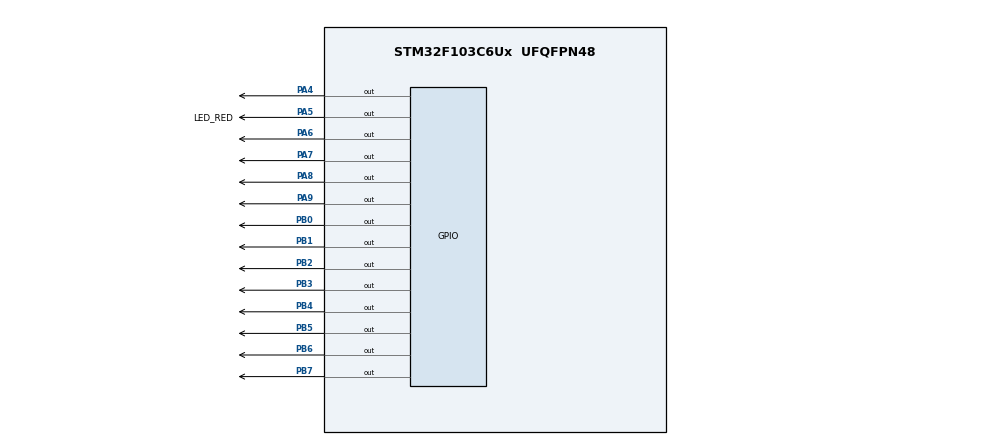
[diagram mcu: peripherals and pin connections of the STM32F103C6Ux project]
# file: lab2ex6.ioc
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Mcu.Family=STM32F1
Mcu.Name=STM32F103C6Ux
Mcu.Package=UFQFPN48
NVIC.PriorityGroup=NVIC_PRIORITYGROUP_4
NVIC.TIM2_IRQn=true\:0\:0\:false\:false\:true\:true\:true
PA4.Signal=GPIO_Output
PA5.GPIO_Label=LED_RED
PA5.Signal=GPIO_Output
PA6.Signal=GPIO_Output
PA7.Signal=GPIO_Output
PA8.Signal=GPIO_Output
PA9.Signal=GPIO_Output
PB0.Signal=GPIO_Output
PB1.Signal=GPIO_Output
PB2.Signal=GPIO_Output
PB3.Signal=GPIO_Output
PB4.Signal=GPIO_Output
PB5.Signal=GPIO_Output
PB6.Signal=GPIO_Output
PB7.Signal=GPIO_Output
ProjectManager.HeapSize=0x200
ProjectManager.StackSize=0x400
ProjectManager.TargetToolchain=STM32CubeIDE
RCC.APB1Freq_Value=8000000
RCC.APB2Freq_Value=8000000
TIM2.Period=9
TIM2.Prescaler=7999
VP_SYS_VS_ND.Mode=No_Debug
VP_TIM2_VS_ClockSourceINT.Mode=Internal
board=custom

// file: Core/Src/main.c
/* USER CODE BEGIN Header */
/**
 ******************************************************************************
 * @file           : main.c
 * @brief          : Main program body
 ******************************************************************************
 * @attention
 *
 * <h2><center>&copy; Copyright (c) 2026 STMicroelectronics.
 * All rights reserved.</center></h2>
 *
 * This software component is licensed by ST under BSD 3-Clause license,
 * the "License"; You may not use this file except in compliance with the
 * License. You may obtain a copy of the License at:
 *                        opensource.org/licenses/BSD-3-Clause
 *
 ******************************************************************************
 */
/* USER CODE END Header */
#include "main.h"

TIM_HandleTypeDef htim2;

void SystemClock_Config(void);
static void MX_GPIO_Init(void);
static void MX_TIM2_Init(void);

/* USER CODE BEGIN 0 */
#define DOT_Pin GPIO_PIN_4
#define EN0_Pin GPIO_PIN_6
#define EN1_Pin GPIO_PIN_7
#define EN2_Pin GPIO_PIN_8
#define EN3_Pin GPIO_PIN_9

int hour = 15, minute = 8, second = 50;
const int MAX_LED = 4;
int led_buffer[4] = {1, 2, 3, 0};
int led_index = 0;

void updateClockBuffer() {
  led_buffer[0] = hour / 10;
  led_buffer[1] = hour % 10;
  led_buffer[2] = minute / 10;
  led_buffer[3] = minute % 10;
}

void display7SEG(int num) {
  GPIO_PinState a = GPIO_PIN_SET;
  GPIO_PinState b = GPIO_PIN_SET;
  GPIO_PinState c = GPIO_PIN_SET;
  GPIO_PinState d = GPIO_PIN_SET;
  GPIO_PinState e = GPIO_PIN_SET;
  GPIO_PinState f = GPIO_PIN_SET;
  GPIO_PinState g = GPIO_PIN_SET;

  switch (num) {
  case 0:
    a = 0;
    b = 0;
    c = 0;
    d = 0;
    e = 0;
    f = 0;
    break;
  case 1:
    b = 0;
    c = 0;
    break;
  case 2:
    a = 0;
    b = 0;
    d = 0;
    e = 0;
    g = 0;
    break;
  case 3:
    a = 0;
    b = 0;
    c = 0;
    d = 0;
    g = 0;
    break;
  case 4:
    b = 0;
    c = 0;
    f = 0;
    g = 0;
    break;
  case 5:
    a = 0;
    c = 0;
    d = 0;
    f = 0;
    g = 0;
    break;
  case 6:
    a = 0;
    c = 0;
    d = 0;
    e = 0;
    f = 0;
    g = 0;
    break;
  case 7:
    a = 0;
    b = 0;
    c = 0;
    break;
  case 8:
    a = 0;
    b = 0;
    c = 0;
    d = 0;
    e = 0;
    f = 0;
    g = 0;
    break;
  case 9:
    a = 0;
    b = 0;
    c = 0;
    d = 0;
    f = 0;
    g = 0;
    break;
  }

  HAL_GPIO_WritePin(GPIOB, GPIO_PIN_0, a);
  HAL_GPIO_WritePin(GPIOB, GPIO_PIN_1, b);
  HAL_GPIO_WritePin(GPIOB, GPIO_PIN_2, c);
  HAL_GPIO_WritePin(GPIOB, GPIO_PIN_3, d);
  HAL_GPIO_WritePin(GPIOB, GPIO_PIN_4, e);
  HAL_GPIO_WritePin(GPIOB, GPIO_PIN_5, f);
  HAL_GPIO_WritePin(GPIOB, GPIO_PIN_6, g);
}

int timer0_counter = 0;
int timer0_flag = 0;
int TIMER_CYCLE = 10;

void setTimer0(int duration) {
  timer0_counter = duration / TIMER_CYCLE;
  timer0_flag = 0;
}

void timer_run() {
  if (timer0_counter > 0) {
    timer0_counter--;
    if (timer0_counter <= 0) {
      timer0_flag = 1;
    }
  }
}
/* USER CODE END 0 */

int main(void)
{

  /* MCU Configuration--------------------------------------------------------*/

  /* Reset of all peripherals, Initializes the Flash interface and the Systick. */
  HAL_Init();

  /* Configure the system clock */
  SystemClock_Config();

  /* Initialize all configured peripherals */
  MX_GPIO_Init();
  MX_TIM2_Init();
  /* USER CODE BEGIN 2 */
  HAL_TIM_Base_Start_IT(&htim2);

  setTimer0(1000);
  /* USER CODE END 2 */

  /* Infinite loop */
  while (1) {

    /* USER CODE BEGIN 3 */

    if (timer0_flag == 1) {
      setTimer0(1000);
      HAL_GPIO_TogglePin(GPIOA, DOT_Pin);
    }

  }
  /* USER CODE END 3 */
}

void SystemClock_Config(void)
{
  RCC_OscInitTypeDef RCC_OscInitStruct = {0};
  RCC_ClkInitTypeDef RCC_ClkInitStruct = {0};

  /** Initializes the RCC Oscillators according to the specified parameters
  * in the RCC_OscInitTypeDef structure.
  */
  RCC_OscInitStruct.OscillatorType = RCC_OSCILLATORTYPE_HSI;
  RCC_OscInitStruct.HSIState = RCC_HSI_ON;
  RCC_OscInitStruct.HSICalibrationValue = RCC_HSICALIBRATION_DEFAULT;
  RCC_OscInitStruct.PLL.PLLState = RCC_PLL_NONE;
  if (HAL_RCC_OscConfig(&RCC_OscInitStruct) != HAL_OK)
  {
    Error_Handler();
  }
  /** Initializes the CPU, AHB and APB buses clocks
  */
  RCC_ClkInitStruct.ClockType = RCC_CLOCKTYPE_HCLK|RCC_CLOCKTYPE_SYSCLK
                              |RCC_CLOCKTYPE_PCLK1|RCC_CLOCKTYPE_PCLK2;
  RCC_ClkInitStruct.SYSCLKSource = RCC_SYSCLKSOURCE_HSI;
  RCC_ClkInitStruct.AHBCLKDivider = RCC_SYSCLK_DIV1;
  RCC_ClkInitStruct.APB1CLKDivider = RCC_HCLK_DIV1;
  RCC_ClkInitStruct.APB2CLKDivider = RCC_HCLK_DIV1;

  if (HAL_RCC_ClockConfig(&RCC_ClkInitStruct, FLASH_LATENCY_0) != HAL_OK)
  {
    Error_Handler();
  }
}

static void MX_TIM2_Init(void)
{

  TIM_ClockConfigTypeDef sClockSourceConfig = {0};
  TIM_MasterConfigTypeDef sMasterConfig = {0};

  htim2.Instance = TIM2;
  htim2.Init.Prescaler = 7999;
  htim2.Init.CounterMode = TIM_COUNTERMODE_UP;
  htim2.Init.Period = 9;
  htim2.Init.ClockDivision = TIM_CLOCKDIVISION_DIV1;
  htim2.Init.AutoReloadPreload = TIM_AUTORELOAD_PRELOAD_DISABLE;
  if (HAL_TIM_Base_Init(&htim2) != HAL_OK)
  {
    Error_Handler();
  }
  sClockSourceConfig.ClockSource = TIM_CLOCKSOURCE_INTERNAL;
  if (HAL_TIM_ConfigClockSource(&htim2, &sClockSourceConfig) != HAL_OK)
  {
    Error_Handler();
  }
  sMasterConfig.MasterOutputTrigger = TIM_TRGO_RESET;
  sMasterConfig.MasterSlaveMode = TIM_MASTERSLAVEMODE_DISABLE;
  if (HAL_TIMEx_MasterConfigSynchronization(&htim2, &sMasterConfig) != HAL_OK)
  {
    Error_Handler();
  }

}

static void MX_GPIO_Init(void)
{
  GPIO_InitTypeDef GPIO_InitStruct = {0};

  /* GPIO Ports Clock Enable */
  __HAL_RCC_GPIOA_CLK_ENABLE();
  __HAL_RCC_GPIOB_CLK_ENABLE();

  /*Configure GPIO pin Output Level */
  HAL_GPIO_WritePin(GPIOA, GPIO_PIN_4|LED_RED_Pin|GPIO_PIN_6|GPIO_PIN_7
                          |GPIO_PIN_8|GPIO_PIN_9, GPIO_PIN_RESET);

  /*Configure GPIO pin Output Level */
  HAL_GPIO_WritePin(GPIOB, GPIO_PIN_0|GPIO_PIN_1|GPIO_PIN_2|GPIO_PIN_3
                          |GPIO_PIN_4|GPIO_PIN_5|GPIO_PIN_6|GPIO_PIN_7, GPIO_PIN_RESET);

  /*Configure GPIO pins : PA4 LED_RED_Pin PA6 PA7
                           PA8 PA9 */
  GPIO_InitStruct.Pin = GPIO_PIN_4|LED_RED_Pin|GPIO_PIN_6|GPIO_PIN_7
                          |GPIO_PIN_8|GPIO_PIN_9;
  GPIO_InitStruct.Mode = GPIO_MODE_OUTPUT_PP;
  GPIO_InitStruct.Pull = GPIO_NOPULL;
  GPIO_InitStruct.Speed = GPIO_SPEED_FREQ_LOW;
  HAL_GPIO_Init(GPIOA, &GPIO_InitStruct);

  /*Configure GPIO pins : PB0 PB1 PB2 PB3
                           PB4 PB5 PB6 PB7 */
  GPIO_InitStruct.Pin = GPIO_PIN_0|GPIO_PIN_1|GPIO_PIN_2|GPIO_PIN_3
                          |GPIO_PIN_4|GPIO_PIN_5|GPIO_PIN_6|GPIO_PIN_7;
  GPIO_InitStruct.Mode = GPIO_MODE_OUTPUT_PP;
  GPIO_InitStruct.Pull = GPIO_NOPULL;
  GPIO_InitStruct.Speed = GPIO_SPEED_FREQ_LOW;
  HAL_GPIO_Init(GPIOB, &GPIO_InitStruct);

}

/* USER CODE BEGIN 4 */
void update7SEG(int index) {
  HAL_GPIO_WritePin(GPIOA, EN0_Pin | EN1_Pin | EN2_Pin | EN3_Pin, GPIO_PIN_SET);
  display7SEG(led_buffer[index]);
  switch (index) {
  case 0:
    HAL_GPIO_WritePin(GPIOA, EN0_Pin, GPIO_PIN_RESET);
    break;
  case 1:
    HAL_GPIO_WritePin(GPIOA, EN1_Pin, GPIO_PIN_RESET);
    break;
  case 2:
    HAL_GPIO_WritePin(GPIOA, EN2_Pin, GPIO_PIN_RESET);
    break;
  case 3:
    HAL_GPIO_WritePin(GPIOA, EN3_Pin, GPIO_PIN_RESET);
    break;
  }
}

void HAL_TIM_PeriodElapsedCallback(TIM_HandleTypeDef *htim) {
  if (htim->Instance == TIM2) {
    timer_run();

    static int counter = 25;
    counter--;
    if (counter <= 0) {
      counter = 25;
      update7SEG(led_index);

      led_index++;
      if (led_index >= MAX_LED)
        led_index = 0;
    }
  }
}
/* USER CODE END 4 */

void Error_Handler(void)
{
  __disable_irq();
  while (1) {
  }
}

#ifdef  USE_FULL_ASSERT
/**
  * @brief  Reports the name of the source file and the source line number
  *         where the assert_param error has occurred.
  * @param  file: pointer to the source file name
  * @param  line: assert_param error line source number
  * @retval None
  */
void assert_failed(uint8_t *file, uint32_t line)
{
  /* USER CODE BEGIN 6 */
  /* User can add his own implementation to report the file name and line
     number, ex: printf("Wrong parameters value: file %s on line %d\r\n", file,
     line) */
  /* USER CODE END 6 */
}
#endif /* USE_FULL_ASSERT */

/************************ (C) COPYRIGHT STMicroelectronics *****END OF FILE****/
